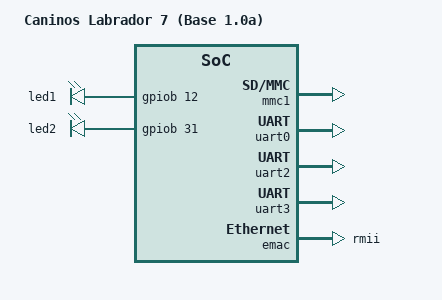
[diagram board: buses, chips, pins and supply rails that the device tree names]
// SPDX-License-Identifier: (GPL-2.0+ OR MIT)
#include "k7-soc.dtsi"

/ {
	model = "Caninos Labrador 7 (Base 1.0a)";
};

&soc {
	leds {
		compatible = "gpio-leds";
		
		led@1 {
			label = "led1";
			gpios = <&gpiob 12 GPIO_ACTIVE_HIGH>;
			linux,default-trigger = "default-on";
			default-state = "ON";
		};
		
		led@2 {
			label = "led2";
			gpios = <&gpiob 31 GPIO_ACTIVE_HIGH>;
			linux,default-trigger = "heartbeat";
			default-state = "ON";
		};
	};
};

&mmc1 {
	enable-gpios = <&gpiob 30 GPIO_ACTIVE_HIGH>, <&gpioc 3 GPIO_ACTIVE_HIGH>;
	power-gpios = <&gpiod 30 GPIO_ACTIVE_HIGH>;
	status = "okay";
};

&uart0 {
	status = "okay";
};

&uart2 {
	status = "okay";
};

&uart3 {
	status = "okay";
};

&emac {
	phy-mode = "rmii";
	phy-power-gpios = <&gpiob 11 GPIO_ACTIVE_HIGH>;
	phy-power-delay-us = <50000>;
	status = "okay";
	
	mdio {
		reset-gpios = <&gpiod 31 GPIO_ACTIVE_LOW>;
		reset-delay-us = <20000>;
		reset-post-delay-us = <150000>;
	};
};

&phy0 {
	realtek,rx-delay = <0x7>;
	max-speed = <100>;
};
